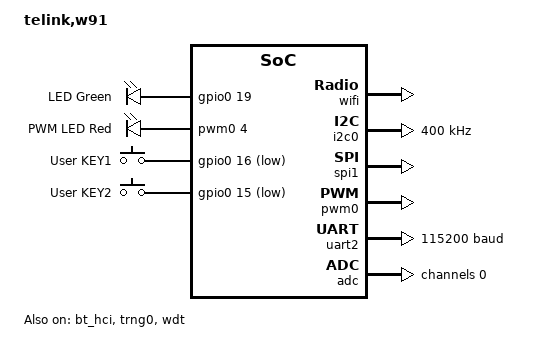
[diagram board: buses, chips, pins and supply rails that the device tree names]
/*
 * Copyright (c) 2024 Telink Semiconductor
 * Copyright (c) 2024 Telink Semiconductor (Shanghai) Co., Ltd.
 *
 * SPDX-License-Identifier: Apache-2.0
 */

/dts-v1/;

#include <freq.h>
#include <telink/telink_w91.dtsi>
#include "tlsr9118bdk40d-pinctrl.dtsi"

/ {
	model = "telink,w91";
	compatible = "telink,tlsr9118bdk40d";

	aliases {
		led0 = &led_green;
		sw0 = &key_1;
		sw1 = &key_2;
		pwm-led0 = &pwm_led_red;
		pwm-0 = &pwm0;
		watchdog0 = &wdt;
	};

	leds {
		compatible = "gpio-leds";

		led_green: led_1 {
			gpios = <&gpio0 19 GPIO_ACTIVE_HIGH>;
			label = "LED Green";
		};
	};

	pwm_leds {
		compatible = "pwm-leds";

		pwm_led_red: pwm_led_0 {
			pwms = <&pwm0 4 PWM_MSEC(1) PWM_POLARITY_NORMAL>;
			label = "PWM LED Red";
		};
	};

	/* Short TL_Key1 (J20 pin 11) to ground (J20 pin 25-35) */
	keys {
		compatible = "gpio-keys";

		key_1: button_1 {
			label = "User KEY1";
			gpios = <&gpio0 16 (GPIO_ACTIVE_LOW | GPIO_PULL_UP)>;
		};

		key_2: button_2 {
			label = "User KEY2";
			gpios = <&gpio0 15 (GPIO_ACTIVE_LOW | GPIO_PULL_UP)>;
		};
	};

	chosen {
/* Note: use RAM_DLM for ".ram_dlm" when a shared SRAM will be used for "zephyr,sram" */
		zephyr,sram = &ram_dlm;
		zephyr,flash = &flash;
		zephyr,flash-controller = &flash_mspi;
		telink,ipc-interface = &ipc0;
		zephyr,entropy = &trng0;
		zephyr,code-partition = &slot0_partition;
		zephyr,bt-hci = &bt_hci;
	};
};

&cpu0 {
	clock-frequency = <160000000>;
};

&flash {
	partitions {
		compatible = "fixed-partitions";
		#address-cells = <1>;
		#size-cells = <1>;

		boot_partition: partition@0 {
			label = "mcuboot";
			reg = <0x00000000 0x20000>;
		};
		slot0_partition: partition@20000 {
			label = "image-0";
			reg = <0x20000 0x120000>;
		};
		n22_partition: partition@140000 { // Don't change n22_partition
			label = "image-n22";
			reg = <0x140000 0xc7000>;
		};
		slot1_partition: partition@207000 {
			label = "image-1";
			reg = <0x207000 0x120000>;
		};
		scratch_partition: partition@327000 {
			label = "image-scratch";
			reg = <0x327000 0x4000>;
		};
		storage_partition: partition@32b000 {
			label = "storage";
			reg = <0x32b000 0xa000>;
		};
		vendor_partition: partition@3fe000 {
			label = "vendor-data";
			reg = <0x3fe000 0x2000>;
		};
	};
};

&wifi {
	status = "okay";
};

&bt_hci {
	status = "okay";
};

&trng0 {
	status = "okay";
};

&gpio0 {
	status = "okay";
};

&i2c0 {
	status = "okay";
	clock-frequency = <I2C_BITRATE_FAST>;
	pinctrl-0 = <&i2c0_scl_default &i2c0_sda_default>;
	pinctrl-names = "default";
};

&spi1 {
	status = "okay";
	pinctrl-0 = <&spi1_cs_default &spi1_clk_default &spi1_miso_default &spi1_mosi_default>;
	pinctrl-names = "default";
};

&pwm0 {
	status = "okay";
	pinctrl-ch4 = <&pwm_ch4_p20_default>;
};

&uart2 {
	status = "okay";
	current-speed = <115200>;
	pinctrl-0 = <&uart2_tx_p16_default &uart2_rx_p15_default>;
	pinctrl-names = "default";
};

&adc {
	status = "okay";
	pinctrl-0 = <&adc_ch0_p7_default>;
	pinctrl-names = "default";

	#address-cells = <1>;
	#size-cells = <0>;

	channel@0 {
		reg = <0>;
		zephyr,gain = "ADC_GAIN_1";
		zephyr,reference = "ADC_REF_INTERNAL";
		zephyr,acquisition-time = <ADC_ACQ_TIME_DEFAULT>;
		zephyr,resolution = <12>;
		zephyr,input-positive = <ADC_SINGLE_CH_5>;
	};
};

&wdt {
	status = "okay";
};
